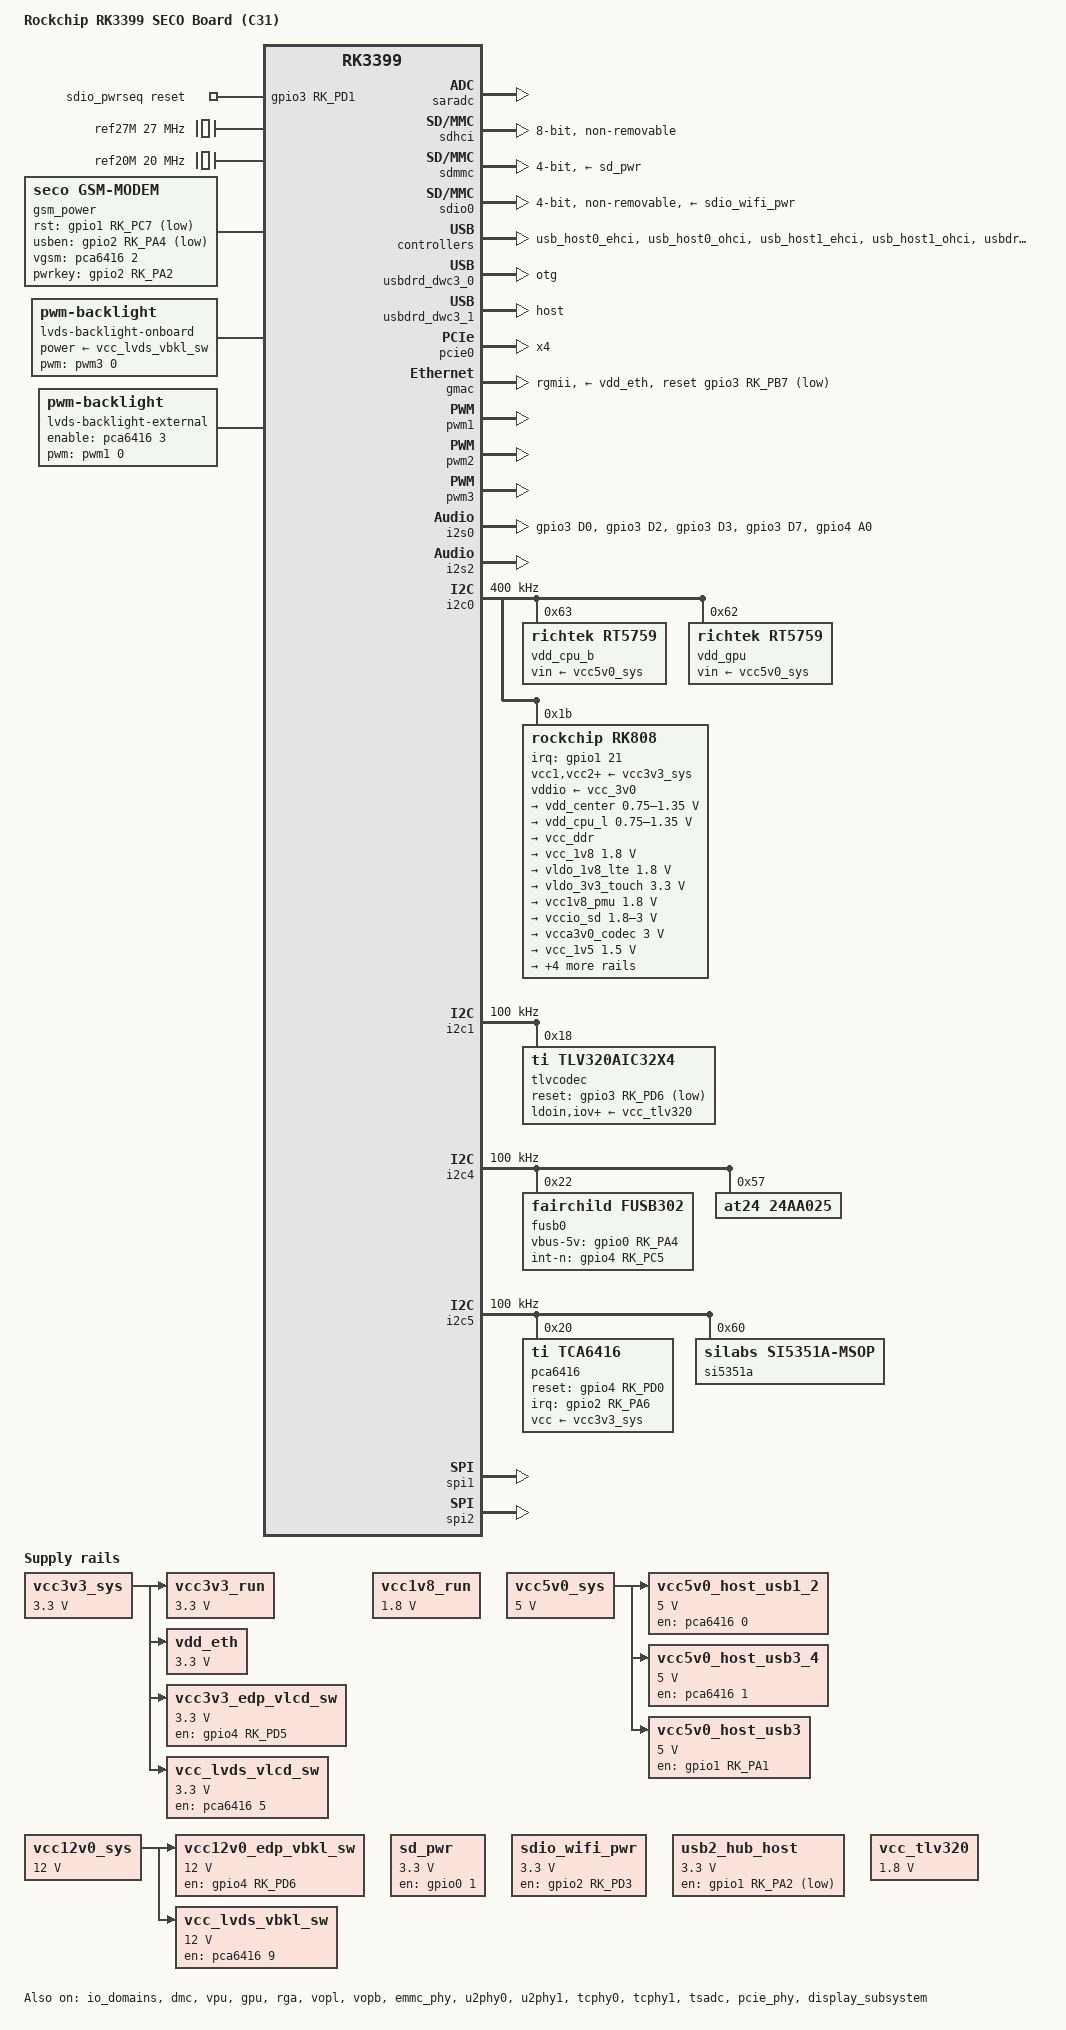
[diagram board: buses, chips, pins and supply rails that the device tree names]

/dts-v1/;

#include "dt-bindings/pwm/pwm.h"
#include <dt-bindings/input/input.h>
#include <dt-bindings/display/drm_mipi_dsi.h>

#include "seco-rk3399.dtsi"
#include "seco-rk3399-opp.dtsi"
#include "seco-rk3399-vop-clk-set.dtsi"
#include "dt-bindings/net/ti-dp83867.h"


/ {
	model      = "Rockchip RK3399 SECO Board (C31)";
	compatible = "rockchip,seco-rk3399-c31", "rockchip,rk3399";


    chosen {
		bootargs = "earlycon=uart8250,mmio32,0xff1a0000 swiotlb=1 console=ttyFIQ0,115200n8n rw rootwait coherent_pool=1m";
		stdout-path = "serial2:115200n8";
	};


	reserved-memory {
		#address-cells = <2>;
		#size-cells = <2>;
		ranges;

		drm_logo: drm-logo@00000000 {
			compatible = "rockchip,drm-logo";
			reg = <0x0 0x0 0x0 0x0>;
		};
	};


/*  __________________________________________________________________________
 * |                                                                          |
 * |                                   DEBUG                                  |
 * |__________________________________________________________________________|
 */
	fiq_debugger: fiq-debugger {
		compatible               = "rockchip,fiq-debugger";
		rockchip,serial-id       = <2>;
		rockchip,signal-irq      = <182>;
		rockchip,wake-irq        = <0>;
		rockchip,irq-mode-enable = <1>;  /* If enable uart uses irq instead of fiq */
		rockchip,baudrate        = <115200>;    /* Only 115200 and 1500000 */
		pinctrl-names            = "default";
		pinctrl-0                = <&uart2c_xfer>;
	};


/*  __________________________________________________________________________
 * |                                                                          |
 * |                                 REGULATORS                               |
 * |__________________________________________________________________________|
 */
	vcc3v3_sys: vcc3v3-sys {
		compatible              = "regulator-fixed";
		regulator-name          = "vcc3v3_sys";
		regulator-always-on;
		regulator-boot-on;
		regulator-min-microvolt = <3300000>;
		regulator-max-microvolt = <3300000>;
	};


    vcc3v3_run: vcc3v3-run {
		compatible              = "regulator-fixed";
		regulator-name          = "vcc3v3_run";
		regulator-min-microvolt = <3300000>;
		regulator-max-microvolt = <3300000>;
		enable-active-high;
		regulator-always-on;
		vin-supply              = <&vcc3v3_sys>;
	};


	vcc1v8_run: vcc1v8-run {
		compatible              = "regulator-fixed";
		regulator-name          = "vcc1v8_run";
		regulator-min-microvolt = <1800000>;
		regulator-max-microvolt = <1800000>;
		enable-active-high;
		regulator-always-on;
	};


	vdd_eth: vdd-eth {
		compatible              = "regulator-fixed";
		regulator-name          = "vdd_eth";
		regulator-min-microvolt = <3300000>;
		regulator-max-microvolt = <3300000>;
		enable-active-high;
		regulator-always-on;
		vin-supply              = <&vcc3v3_sys>;
	};


	vcc5v0_sys: vcc5v-sys {
		compatible              = "regulator-fixed";
		regulator-name          = "vcc5v0_sys";
		regulator-always-on;
		regulator-boot-on;
		regulator-min-microvolt = <5000000>;
		regulator-max-microvolt = <5000000>;
	};


	vcc12v0_sys: vcc12v-sys {
		compatible              = "regulator-fixed";
		regulator-name          = "vcc12v0_sys";
		regulator-always-on;
		regulator-boot-on;
		regulator-min-microvolt = <12000000>;
		regulator-max-microvolt = <12000000>;
	};


    sd_pwr: sd-pwr {
		compatible              = "regulator-fixed";
		gpio                    = <&gpio0 1 GPIO_ACTIVE_HIGH>;
		pinctrl-names           = "default";
		pinctrl-0               = <&sdmmc0_pwr_h>;
		regulator-name          = "vcc_sd";
		regulator-min-microvolt = <3300000>;
		regulator-max-microvolt = <3300000>;
		enable-active-high;
	};


	sdio_wifi_pwr: sdio-wifi-pwr {
		compatible              = "regulator-fixed";
		gpio                    = <&gpio2 RK_PD3 GPIO_ACTIVE_HIGH>;
		pinctrl-names           = "default";
		pinctrl-0               = <&sdio0_pwr_h>;
		regulator-name          = "sdio_wifi_pwr";
		regulator-min-microvolt = <3300000>;
		regulator-max-microvolt = <3300000>;
		enable-active-high;
        	startup-delay-us        = <1000>;
	};


    usb2_hub_host: usb2-hub-host {
		compatible              = "regulator-fixed";
		gpio                    = <&gpio1 RK_PA2 GPIO_ACTIVE_HIGH>;
		pinctrl-names           = "default";
		pinctrl-0               = <&host_hub_enable>;
		regulator-name          = "usb2_hub_host";
        regulator-min-microvolt = <3300000>;
		regulator-max-microvolt = <3300000>;
		enable-active-down;
		regulator-always-on;
	};


	vcc5v0_host_usb1_2: vcc5v0-host-usb1-2-regulator {
		compatible              = "regulator-fixed";
		gpio                    = <&pca6416 0 GPIO_ACTIVE_HIGH>;
		regulator-name          = "vcc5v0_host_usb1_2";
        regulator-min-microvolt = <5000000>;
		regulator-max-microvolt = <5000000>;
		regulator-always-on;
		enable-active-high;
		vin-supply              = <&vcc5v0_sys>;
	};


	vcc5v0_host_usb3_4: vcc5v0-host-usb3-4-regulator {
		compatible              = "regulator-fixed";
		gpio                    = <&pca6416 1 GPIO_ACTIVE_HIGH>;
		regulator-name          = "vcc5v0_host_usb3_4";
        regulator-min-microvolt = <5000000>;
		regulator-max-microvolt = <5000000>;
		regulator-always-on;
		enable-active-high;
		vin-supply              = <&vcc5v0_sys>;
	};


    vcc5v0_host_usb3: vcc5v0-host-usb3-regulator {
		compatible              = "regulator-fixed";
		gpio                    = <&gpio1 RK_PA1 GPIO_ACTIVE_HIGH>;
		regulator-name          = "vcc5v0_host_usb3";
        regulator-min-microvolt = <5000000>;
		regulator-max-microvolt = <5000000>;
		regulator-always-on;
		enable-active-high;
		vin-supply              = <&vcc5v0_sys>;
	};


	vcc_tlv320: vcc-tlv320-regulator {
		compatible              = "regulator-fixed";
		regulator-name          = "tlv320aic32x4_supply";
		regulator-min-microvolt = <1800000>;
		regulator-max-microvolt = <1800000>;
		regulator-always-on;
	};


	vcc3v3_edp_vlcd_sw: vcc3v3_edp_vlcd_sw {
		compatible              = "regulator-fixed";
		pinctrl-names           = "default";
		pinctrl-0               = <&edp_vlcd_sw>;
		gpio                    = <&gpio4 RK_PD5 GPIO_ACTIVE_HIGH>;
		regulator-name          = "vcc3v3_edp_vlcd_sw";
		regulator-min-microvolt = <3300000>;
		regulator-max-microvolt = <3300000>;
		enable-active-high;
		vin-supply              = <&vcc3v3_sys>;
	};


	vcc12v0_edp_vbkl_sw: vcc12v0-edp-vbkl-sw {
		compatible              = "regulator-fixed";
		pinctrl-names           = "default";
		pinctrl-0               = <&edp_vblk_sw>;
		gpio                    = <&gpio4 RK_PD6 GPIO_ACTIVE_HIGH>;
		regulator-name          = "vcc3v3_edp_vbkl_sw";
		regulator-min-microvolt = <12000000>;
		regulator-max-microvolt = <12000000>;
		enable-active-high;
		vin-supply              = <&vcc12v0_sys>;
	};


	vcc_lvds_vlcd_sw: vcc-lvds-vlcd-sw {
		compatible              = "regulator-fixed";
		gpio                    = <&pca6416 5 GPIO_ACTIVE_HIGH>;
		regulator-name          = "vcc_lvds_vlcd_sw";
		regulator-min-microvolt = <3300000>;
		regulator-max-microvolt = <3300000>;
		enable-active-high;
		vin-supply              = <&vcc3v3_sys>;
	};


	vcc_lvds_vbkl_sw: vcc-lvds-vbkl-sw {
		compatible              = "regulator-fixed";
		gpio                    = <&pca6416 9 GPIO_ACTIVE_HIGH>;
		regulator-name          = "vcc_lvds_vbkl_sw";
		regulator-min-microvolt = <12000000>;
		regulator-max-microvolt = <12000000>;
		enable-active-high;
		vin-supply              = <&vcc12v0_sys>;
	};


	sdio_pwrseq: sdio-pwrseq {
		compatible    = "mmc-pwrseq-simple";
		clocks        = <&rk808 1>;
		clock-names   = "ext_clock";
		pinctrl-names = "default";
		pinctrl-0     = <&wifi_enable_h>;
		reset-gpios   = <&gpio3 RK_PD1 GPIO_ACTIVE_HIGH>;
	};


/*  __________________________________________________________________________
 * |                                                                          |
 * |                                     CLOCKS                               |
 * |__________________________________________________________________________|
 */
	/* 27MHz reference crystal */
	ref27M: ref27M {
        compatible = "fixed-clock";
		#clock-cells = <0>;
		clock-frequency = <27000000>;
	};


	/* 20MHz reference crystal */
	ref20M: ref20M {
        compatible = "fixed-clock";
		#clock-cells = <0>;
		clock-frequency = <20000000>;
	};
};



/*  __________________________________________________________________________
 * |                                                                          |
 * |                                   POWER                                  |
 * |__________________________________________________________________________|
 */

&pmu_io_domains {
	status = "okay";
	pmu1830-supply = <&vcc_3v0>;
};


&io_domains {
	bt656-supply    = <&vcc_3v0>; /* bt656_gpio2ab_ms */
	audio-supply    = <&vcc1v8_run>; /* audio_gpio3d4a_ms */
	sdmmc-supply    = <&sd_pwr>; /* sdmmc_gpio4b_ms */
	gpio1830-supply = <&vcc_3v0>; /* gpio1833_gpio4cd_ms */

	status          = "okay";
};
/*  __________________________________________________________________________
 * |__________________________________________________________________________|
 */



/*  __________________________________________________________________________
 * |                                                                          |
 * |                                    CPU                                   |
 * |__________________________________________________________________________|
 */
&cpu_l0 {
	cpu-supply = <&vdd_cpu_l>;
};


&cpu_l1 {
	cpu-supply = <&vdd_cpu_l>;
};


&cpu_l2 {
	cpu-supply = <&vdd_cpu_l>;
};


&cpu_l3 {
	cpu-supply = <&vdd_cpu_l>;
};


&cpu_b0 {
	cpu-supply = <&vdd_cpu_b>;
};


&cpu_b1 {
	cpu-supply = <&vdd_cpu_b>;
};


&dmc {
	status             = "okay";
	center-supply      = <&vdd_center>;
	upthreshold        = <40>;
	downdifferential   = <20>;

	system-status-freq = <
		/*system status         freq(KHz)*/
		SYS_STATUS_NORMAL       800000
		SYS_STATUS_REBOOT       528000
		SYS_STATUS_SUSPEND      200000
		SYS_STATUS_VIDEO_1080P  200000
		SYS_STATUS_VIDEO_4K     600000
		SYS_STATUS_VIDEO_4K_10B 800000
		SYS_STATUS_PERFORMANCE  800000
		SYS_STATUS_BOOST        400000
		SYS_STATUS_DUALVIEW     600000
		SYS_STATUS_ISP          600000
	>;
	vop-bw-dmc-freq = <
	/* min_bw(MB/s) max_bw(MB/s) freq(KHz) */
		0       762      200000
		763     1893     400000
		1894    3012     528000
		3013    99999    800000
	>;

	auto-min-freq = <200000>;
};
/*  __________________________________________________________________________
 * |__________________________________________________________________________|
 */


 /* __________________________________________________________________________
 * |                                                                          |
 * |                              HW ACCELERATION                             |
 * |__________________________________________________________________________|
 */

&vpu {
	status = "okay";
};

&gpu {
	status = "okay";
	mali-supply = <&vdd_gpu>;
};


&gpu_power_model {
	// for DDK r14.
	voltage       = <900>;
	frequency     = <500>;
	static-power  = <300>;
	dynamic-power = <396>;
};


&rga {
	compatible    = "rockchip,rga2";
	dev_mode      = <1>;
	reg           = <0x0 0xff680000 0x0 0x1000>;
	interrupts    = <GIC_SPI 55 IRQ_TYPE_LEVEL_HIGH 0>;
	clocks        = <&cru ACLK_RGA>, <&cru HCLK_RGA>, <&cru SCLK_RGA_CORE>;
	clock-names   = "aclk_rga", "hclk_rga", "clk_rga";
	power-domains = <&power RK3399_PD_RGA>;
	status = "okay";
};
/*  __________________________________________________________________________
 * |__________________________________________________________________________|
 */


 /*  __________________________________________________________________________
 * |                                                                          |
 * |                              A/D CONVERTER                               |
 * |__________________________________________________________________________|
 */
&saradc {
	status      = "okay";
};
/*  __________________________________________________________________________
 * |__________________________________________________________________________|
 */


/*  __________________________________________________________________________
 * |                                                                          |
 * |                        VISUAL OUTPUT PROCESSOR                           |
 * |__________________________________________________________________________|
 */
&vopl {
	status = "okay";
	assigned-clocks = <&cru DCLK_VOP1_DIV>;
	assigned-clock-parents = <&cru PLL_CPLL>;
};


&vopb_mmu {
	status = "okay";
};


&vopb {
	status = "okay";
	assigned-clocks = <&cru DCLK_VOP0_DIV>;
	assigned-clock-parents = <&cru PLL_VPLL>;
};


&vopb_mmu {
	status = "okay";
};
/*  __________________________________________________________________________
 * |__________________________________________________________________________|
 */


/*  __________________________________________________________________________
 * |                                                                          |
 * |                              eMMC/uSD/SDIO                               |
 * |__________________________________________________________________________|
 */
 /*  eMMC  */
&emmc_phy {
	status = "okay";
};

&sdhci {
	bus-width                   = <8>;
	mmc-hs400-1_8v;
	supports-emmc;
	non-removable;
	keep-power-in-suspend;
	mmc-hs400-enhanced-strobe;
	status                      = "okay";
};


/*  uSD  */
&sdmmc {
	pinctrl-names      = "default";
	pinctrl-0          = <&sdmmc_clk &sdmmc_cmd &sdmmc_cd &sdmmc_bus4>;
	clock-frequency    = <150000000>;
	clock-freq-min-max = <100000 150000000>;
	supports-sd;
	bus-width          = <4>;
	vmmc-supply        = <&sd_pwr>;
	num-slots          = <1>;
	cap-mmc-highspeed;
	cap-sd-highspeed;
	disable-wp;
	status             = "okay";
};


/*  WIFI  */
&sdio0 {
	pinctrl-names            = "default";
	pinctrl-0                = <&sdio0_bus4 &sdio0_cmd &sdio0_clk>;
	bus-width                = <4>;
	vmmc-supply              = <&sdio_wifi_pwr>;
	mmc-pwrseq               = <&sdio_pwrseq>;
	num-slots                = <1>;
	supports-sdio;
	disable-wp;
	cap-sd-highspeed;
	cap-sdio-irq;
	keep-power-in-suspend;
	non-removable;
	sd-uhs-sdr104;
	status                   = "okay";

	sd8xxx-wlan {
			status            = "okay";
			drv_mode          = <0x1>;
			cfg80211_wext     = <0xf>;
			sta_name          = "wlan";
			wfd_name          = "p2p";
			max_vir_bss       = <1>;
			cal_data_cfg      = "mrvl/cal_data.conf";
			fw_name           = "mrvl/sd8997_combo_v4.bin";
			reg_alpha2        = "US";
			p2p_enh           = <1>;
			auto_ds           = <0>;
			inact_tmo         = <3000>;
			gtk_rekey_offload = <1>;
			cfg80211_drcs     = <0>;
		};
};
/*  __________________________________________________________________________
 * |__________________________________________________________________________|
 */


 /*  __________________________________________________________________________
 * |                                                                          |
 * |                                    USB 2                                 |
 * |__________________________________________________________________________|
 */
 &u2phy0 {
	status  = "okay";
    extcon  = <&fusb0>;
	dr_mode = "host";
	
	u2phy0_host: host-port {
		phy-supply = <&usb2_hub_host &vcc5v0_host_usb1_2 &vcc5v0_host_usb3_4>;
		status     = "okay";
	};
};


&u2phy1 {
	status = "okay";

	u2phy1_otg: otg-port {
		status = "okay";
	};

	u2phy1_host: host-port {
		status = "okay";
	};
};


&usb_host0_ehci {
	status = "okay";
};


&usb_host0_ohci {
	status = "okay";
};


&usb_host1_ehci {
	status = "okay";
};


&usb_host1_ohci {
	status = "okay";
};
 /*  __________________________________________________________________________
 * |__________________________________________________________________________|
 */


/*  __________________________________________________________________________
 * |                                                                          |
 * |                                    USB 3                                 |
 * |__________________________________________________________________________|
 */
&usbdrd3_0 {
	status = "okay";
	extcon = <&fusb0>;
};


&usbdrd_dwc3_0 {
	dr_mode = "otg";
	status = "okay";
};


&usbdrd3_1 {
	status = "okay";
};

&usbdrd_dwc3_1 {
	status = "okay";
	dr_mode = "host";
};


&tcphy0 {
	extcon = <&fusb0>;
	status = "okay";
};


&tcphy1 {
	status = "okay";
};

&tsadc {
	/* tshut mode 0:CRU 1:GPIO */
	rockchip,hw-tshut-mode = <1>;
	/* tshut polarity 0:LOW 1:HIGH */
	rockchip,hw-tshut-polarity = <1>;
	rockchip,hw-tshut-temp = <110000>;
	status = "okay";
};
/*  __________________________________________________________________________
 * |__________________________________________________________________________|
 */


/*  __________________________________________________________________________
 * |                                                                          |
 * |                                  PCIe                                    |
 * |__________________________________________________________________________|
 */
&pcie_phy {
	status = "okay";
};


&pcie0 {
	ep-gpios          = <&pca6416 13 GPIO_ACTIVE_HIGH>;
    ep_start_low;
	num-lanes         = <4>;
	pinctrl-names     = "default";
	pinctrl-0         = <&pcie_clkreqn>;
	bus-scan-delay-ms = <1000>;
	status            = "okay";
};
/*  __________________________________________________________________________
 * |__________________________________________________________________________|
 */


/*  __________________________________________________________________________
 * |                                                                          |
 * |                                ETHERNET                                  |
 * |__________________________________________________________________________|
 */
&gmac {
	phy-supply             = <&vdd_eth>;
	phy-mode               = "rgmii";
	clock_in_out           = "output";
	snps,reset-gpio        = <&gpio3 RK_PB7 GPIO_ACTIVE_LOW>;
	snps,reset-active-low;
	snps,reset-delays-us   = <0 10000 50000>;
	assigned-clocks        = <&cru SCLK_RMII_SRC>;
	assigned-clock-parents = <&cru SCLK_MAC>;
	assigned-clock-rates   = <125000000>;
	pinctrl-names          = "default";
	pinctrl-0              = <&rgmii_pins>;
	tx_delay               = <0x28>;
	rx_delay               = <0x11>;
	status                 = "okay";
};
/*  __________________________________________________________________________
 * |__________________________________________________________________________|
 */


/*  __________________________________________________________________________
 * |                                                                          |
 * |                                   GSM                                    |
 * |__________________________________________________________________________|
 */
/ {
	gsm_power: gsm_power {
		compatible    = "seco,gsm-modem";
		pinctrl-names = "default";
		pinctrl-0     = <&gsm_modem_pwr>;
		rst-gpios     = <&gpio1 RK_PC7 GPIO_ACTIVE_LOW>;
		rst-active-low; 
		usben-gpios   = <&gpio2 RK_PA4 GPIO_ACTIVE_LOW>;
		usben-active-low; 
		vgsm-gpios    = <&pca6416 2 GPIO_ACTIVE_HIGH>;
		vgsm-active-low;
		pwrkey-gpios  = <&gpio2 RK_PA2 GPIO_ACTIVE_HIGH>;
		pwr-active-low;
		status        = "okay";
	};
};
/*  __________________________________________________________________________
 * |__________________________________________________________________________|
 */


/*  __________________________________________________________________________
 * |                                                                          |
 * |                                   PWM                                    |
 * |__________________________________________________________________________|
 */
 &pwm1 {
	status = "okay";
};


&pwm2 {
	status = "okay";
};


&pwm3 {
	status = "okay";
};
 /*  __________________________________________________________________________
 * |__________________________________________________________________________|
 */


/*  __________________________________________________________________________
 * |                                                                          |
 * |                                 VIDEO                                    |
 * |__________________________________________________________________________|
 */
&display_subsystem {
	status = "okay";
	/delete-property/ devfreq;

	ports = <&vopb_out>, <&vopl_out>;
	logo-memory-region = <&drm_logo>;

	 display_route: route {
	// 	route_hdmi: route-hdmi {
	// 		status = "disabled";
	// 		logo,uboot = "logo.bmp";
	// 		logo,kernel = "logo_kernel.bmp";
	// 		logo,mode = "center";
	// 		charge_logo,mode = "center";
	// 		connect = <&vopb_out_hdmi>;
	// 	};

	// 	route_dsi: route-dsi {
	// 		status = "disabled";
	// 		logo,uboot = "logo.bmp";
	// 		logo,kernel = "logo_kernel.bmp";
	// 		logo,mode = "center";
	// 		charge_logo,mode = "center";
	 		//connect = <&vopl_out_dsi>;
	// 	};

	// 	route_edp: route-edp {
	// 		status = "okay";
	// 		logo,uboot = "logo.bmp";
	// 		logo,kernel = "logo_kernel.bmp";
	// 		logo,mode = "center";
	// 		charge_logo,mode = "center";
	// 		connect = <&vopl_out_edp>;
	// 	};
	 };



	// route_dp: route-dp {
	// 	status           = "okay";
	// 	logo,uboot       = "logo.bmp";
	// 	logo,kernel      = "logo_kernel.bmp";
	// 	logo,mode        = "center";
	// 	charge_logo,mode = "center";
	// 	connect          = <&vopb_out_dp>;
	// };
};


/* --------------------------------- DP over typeC --------------------------------- */
&cdn_dp {
	status = "disabled";
	phys   = <&tcphy0_dp>;
	extcon = <&fusb0>;
};

&dp_in_vopb {
	status = "disabled";
};

&dp_in_vopl {
	status = "disabled";
};


/* --------------------------------- HDMI --------------------------------- */
&hdmi {
	pinctrl-names = "default";
	pinctrl-0 = <&hdmi_i2c_xfer>, <&hdmi_cec>;
	#address-cells = <1>;
	#size-cells = <0>;
	#sound-dai-cells = <0>;
	status = "disabled";
};


/* --------------------------------- EDP --------------------------------- */
/ {
	backlight: lcd-backlight {
		compatible               = "pwm-backlight";
		pwms                     = <&pwm2 0 250000 0>;
		enable-gpios             = <&pca6416 10 GPIO_ACTIVE_HIGH>;
		power-supply             = <&vcc12v0_edp_vbkl_sw>;
		default-brightness-level = <255>;
		status                   = "disable";

		brightness-levels = <
			  0   1   2   3   4   5   6   7
			  8   9  10  11  12  13  14  15
			 16  17  18  19  20  21  22  23
			 24  25  26  27  28  29  30  31
			 32  33  34  35  36  37  38  39
			 40  41  42  43  44  45  46  47
			 48  49  50  51  52  53  54  55
			 56  57  58  59  60  61  62  63
			 64  65  66  67  68  69  70  71
			 72  73  74  75  76  77  78  79
			 80  81  82  83  84  85  86  87
			 88  89  90  91  92  93  94  95
			 96  97  98  99 100 101 102 103
			104 105 106 107 108 109 110 111
			112 113 114 115 116 117 118 119
			120 121 122 123 124 125 126 127
			128 129 130 131 132 133 134 135
			136 137 138 139 140 141 142 143
			144 145 146 147 148 149 150 151
			152 153 154 155 156 157 158 159
			160 161 162 163 164 165 166 167
			168 169 170 171 172 173 174 175
			176 177 178 179 180 181 182 183
			184 185 186 187 188 189 190 191
			192 193 194 195 196 197 198 199
			200 201 202 203 204 205 206 207
			208 209 210 211 212 213 214 215
			216 217 218 219 220 221 222 223
			224 225 226 227 228 229 230 231
			232 233 234 235 236 237 238 239
			240 241 242 243 244 245 246 247
			248 249 250 251 252 253 254 255>;
	};


	edp_panel: edp-panel {
		compatible       = "simple-panel";
		backlight        = <&backlight>;
		power-supply     = <&vcc3v3_edp_vlcd_sw>;
		status           = "disabled";

		display-timings {
			native-mode = <&timing0>;

			timing0: timing0 {
				clock-frequency  = <152840000>;
				hactive          = <1920>;
				vactive          = <1080>;
				hfront-porch     = <150>;
				hback-porch      = <150>;
				hsync-len        = <30>;
				vfront-porch     = <25>;
				vback-porch      = <25>;
				vsync-len        = <2>;
				hsync-active     = <0>;
				vsync-active     = <0>;
				de-active        = <0>;
				pixelclk-active  = <0>;
			};
		};
		
		ports {
			panel_in_edp: endpoint {
				remote-endpoint = <&edp_out_panel>;
			};
		};
	};
};


&edp {
	status     = "disabled";
	force-hpd;

	ports {
		edp_out: port@1 {
			reg            = <1>;
			#address-cells = <1>;
			#size-cells    = <0>;

			edp_out_panel: endpoint@0 {
				reg             = <0>;
				remote-endpoint = <&panel_in_edp>;
			};
		};
	};
};


/* --------------------------------- DSI -> LVDS --------------------------------- */
/ {
	lvds-backlight-onboard {
		compatible               = "pwm-backlight";
		pwms                     = <&pwm3 0 250000 0>;
		power-supply             = <&vcc_lvds_vbkl_sw>;
		default-brightness-level = <255>;
		status                   = "okay";

		brightness-levels = <
			  0   1   2   3   4   5   6   7
			  8   9  10  11  12  13  14  15
			 16  17  18  19  20  21  22  23
			 24  25  26  27  28  29  30  31
			 32  33  34  35  36  37  38  39
			 40  41  42  43  44  45  46  47
			 48  49  50  51  52  53  54  55
			 56  57  58  59  60  61  62  63
			 64  65  66  67  68  69  70  71
			 72  73  74  75  76  77  78  79
			 80  81  82  83  84  85  86  87
			 88  89  90  91  92  93  94  95
			 96  97  98  99 100 101 102 103
			104 105 106 107 108 109 110 111
			112 113 114 115 116 117 118 119
			120 121 122 123 124 125 126 127
			128 129 130 131 132 133 134 135
			136 137 138 139 140 141 142 143
			144 145 146 147 148 149 150 151
			152 153 154 155 156 157 158 159
			160 161 162 163 164 165 166 167
			168 169 170 171 172 173 174 175
			176 177 178 179 180 181 182 183
			184 185 186 187 188 189 190 191
			192 193 194 195 196 197 198 199
			200 201 202 203 204 205 206 207
			208 209 210 211 212 213 214 215
			216 217 218 219 220 221 222 223
			224 225 226 227 228 229 230 231
			232 233 234 235 236 237 238 239
			240 241 242 243 244 245 246 247
			248 249 250 251 252 253 254 255>;
	};

	lvds-backlight-external {
		compatible               = "pwm-backlight";
		pwms                     = <&pwm1 0 250000 0>;
		enable-gpios             = <&pca6416 3 GPIO_ACTIVE_HIGH>;
		default-brightness-level = <255>;
		status                   = "okay";

		brightness-levels = <
			  0   1   2   3   4   5   6   7
			  8   9  10  11  12  13  14  15
			 16  17  18  19  20  21  22  23
			 24  25  26  27  28  29  30  31
			 32  33  34  35  36  37  38  39
			 40  41  42  43  44  45  46  47
			 48  49  50  51  52  53  54  55
			 56  57  58  59  60  61  62  63
			 64  65  66  67  68  69  70  71
			 72  73  74  75  76  77  78  79
			 80  81  82  83  84  85  86  87
			 88  89  90  91  92  93  94  95
			 96  97  98  99 100 101 102 103
			104 105 106 107 108 109 110 111
			112 113 114 115 116 117 118 119
			120 121 122 123 124 125 126 127
			128 129 130 131 132 133 134 135
			136 137 138 139 140 141 142 143
			144 145 146 147 148 149 150 151
			152 153 154 155 156 157 158 159
			160 161 162 163 164 165 166 167
			168 169 170 171 172 173 174 175
			176 177 178 179 180 181 182 183
			184 185 186 187 188 189 190 191
			192 193 194 195 196 197 198 199
			200 201 202 203 204 205 206 207
			208 209 210 211 212 213 214 215
			216 217 218 219 220 221 222 223
			224 225 226 227 228 229 230 231
			232 233 234 235 236 237 238 239
			240 241 242 243 244 245 246 247
			248 249 250 251 252 253 254 255>;
	};


        panel_lvds: lvds_panel {
		compatible         = "simple-panel";
		#address-cells     = <1>;
		#size-cells        = <0>;
		power-supply       = <&vcc_lvds_vlcd_sw>;
		enable-gpios       = <&pca6416 11 GPIO_ACTIVE_HIGH>;
		status             = "disabled";

		ports {
			#address-cells = <1>;
		 	#size-cells    = <0>;

			panel_in: endpoint@0 {
				remote-endpoint = <&bridge_to_panel>;
			};
		};
	};
};


&dsi {
	status = "disabled";
};
/*  __________________________________________________________________________
 * |__________________________________________________________________________|
 */


/*  __________________________________________________________________________
 * |                                                                          |
 * |                                 AUDIO                                    |
 * |__________________________________________________________________________|
 */
&i2s0 {
	rockchip,i2s-broken-burst-len;
	pinctrl-names                  = "default";
	pinctrl-0                      = <&i2s0_2ch_bus &i2s0_2ch_mclk>;
	rockchip,playback-channels     = <2>;
	rockchip,capture-channels      = <2>;
	#sound-dai-cells               = <0>;
	//rockchip,clk-trcm              = <1>; 	// only tx_lrck/bclk is used

	status                         = "okay";
};


&i2s2 {
	#sound-dai-cells = <0>;
	status           = "okay";
};


/ {
	hdmi_sound: hdmi-sound {
		status = "disabled";
	};

	dw_hdmi_audio: dw-hdmi-audio {
		status = "disabled";
		compatible = "rockchip,dw-hdmi-audio";
		#sound-dai-cells = <0>;
	};


	hdmi_sound: hdmi-sound {
		status = "disabled";
		compatible = "simple-audio-card";
		simple-audio-card,format = "i2s";
		simple-audio-card,mclk-fs = <256>;
		simple-audio-card,name = "rockchip,hdmi";

		simple-audio-card,cpu {
			sound-dai = <&i2s2>;
		};
		simple-audio-card,codec {
			sound-dai = <&hdmi>;
		};
	};


	headphones-sound {
		status                        = "okay";
		compatible                    = "simple-audio-card";
		simple-audio-card,format      = "i2s";
		simple-audio-card,name        = "rk-tlvcodec-sound";
		simple-audio-card,mclk-fs     = <256>;
//		simple-audio-card,hp-det-gpio = <&gpio2 RK_PA7 GPIO_ACTIVE_LOW>;

		simple-audio-card,cpu {
			bitclock-master;
			frame-master;
			sound-dai         = <&i2s0>;
		};
		simple-audio-card,codec {
			sound-dai         = <&tlvcodec>;
		};
	};
};
/*  __________________________________________________________________________
 * |__________________________________________________________________________|
 */


/*  __________________________________________________________________________
 * |                                                                          |
 * |                                   I2C                                    |
 * |__________________________________________________________________________|
 */
&i2c0 {
	i2c-scl-rising-time-ns  = <168>;
	i2c-scl-falling-time-ns = <4>;
	clock-frequency         = <400000>;
	status                  = "okay";


    vdd_cpu_b: rt5759@63 {
		compatible              = "richtek,rt5759";
		reg                     = <0x63>;
		vin-supply              = <&vcc5v0_sys>;
		regulator-name          = "vdd_cpu_b";
		regulator-min-microvolt = <600000>;
		regulator-max-microvolt = <1500000>;
		regulator-ramp-delay    = <1000>;
		rate-offset-fb          = <1234>;  // ( 1 + Rup/Rdown) * 1000 ; voltage growing due to the fb net 
		regulator-always-on;
		regulator-boot-on;
		regulator-initial-state = <3>;
		regulator-state-mem {
			regulator-off-in-suspend;
		};
	};


	vdd_gpu: rt5759@62 {
		compatible              = "richtek,rt5759";
		reg                     = <0x62>;
		vin-supply              = <&vcc5v0_sys>;
		regulator-name          = "vdd_gpu";
		regulator-min-microvolt = <600000>;
		regulator-max-microvolt = <1500000>;
		regulator-ramp-delay    = <1000>;
		rate-offset-fb          = <1200>;  // ( 1 + Rup/Rdown) * 1000 ; voltage growing due to the fb net 
		regulator-always-on;
		regulator-boot-on;
		regulator-initial-state = <3>;
		regulator-state-mem {
			regulator-off-in-suspend;
		};
	};


	rk808: pmic@1b {
		compatible       = "rockchip,rk808";
		reg              = <0x1b>;
		pinctrl-names    = "default";
		pinctrl-0        = <&pmic_int_l>;
		interrupt-parent = <&gpio1>;
		interrupts       = <21 IRQ_TYPE_LEVEL_LOW>;
		#clock-cells     = <1>;
		rockchip,system-power-controller;
		wakeup-source;
		
		clock-output-names = "rk808-clkout1", "rk808-clkout2";

		vcc1-supply = <&vcc3v3_sys>;
		vcc2-supply = <&vcc3v3_sys>;
		vcc3-supply = <&vcc3v3_sys>;
		vcc4-supply = <&vcc3v3_sys>;
		vcc6-supply = <&vcc3v3_sys>;
		vcc7-supply = <&vcc3v3_sys>;
		vcc8-supply = <&vcc3v3_sys>;
		vcc9-supply = <&vcc3v3_sys>;
		vcc10-supply = <&vcc3v3_sys>;
		vcc11-supply = <&vcc3v3_sys>;
		vcc12-supply = <&vcc3v3_sys>;
		vddio-supply = <&vcc_3v0>;

		regulators {
			vdd_center: DCDC_REG1 {
				regulator-always-on;
				regulator-boot-on;
				regulator-min-microvolt = <750000>;
				regulator-max-microvolt = <1350000>;
				regulator-ramp-delay    = <6001>;
				regulator-name          = "vdd_center";
				regulator-state-mem {
					regulator-off-in-suspend;
				};
			};

			vdd_cpu_l: DCDC_REG2 {
				regulator-always-on;
				regulator-boot-on;
				regulator-min-microvolt = <750000>;
				regulator-max-microvolt = <1350000>;
				regulator-ramp-delay    = <6001>;
				regulator-name          = "vdd_cpu_l";
				regulator-state-mem {
					regulator-off-in-suspend;
				};
			};

			vcc_ddr: DCDC_REG3 {
				regulator-always-on;
				regulator-boot-on;
				regulator-name       = "vcc_ddr";
				regulator-state-mem {
					regulator-on-in-suspend;
				};
			};

			vcc_1v8: DCDC_REG4 {
				regulator-always-on;
				regulator-boot-on;
				regulator-min-microvolt    = <1800000>;
				regulator-max-microvolt    = <1800000>;
				regulator-name = "vcc_1v8";
				regulator-state-mem {
					regulator-on-in-suspend;
					regulator-suspend-microvolt = <1800000>;
				};
			};

			vldo_1v8_lte: LDO_REG1 {
				regulator-always-on;
				regulator-boot-on;
				regulator-min-microvolt = <1800000>;
				regulator-max-microvolt = <1800000>;
				regulator-name          = "vcc1v8_dvp";
				regulator-state-mem {
					regulator-off-in-suspend;
				};
			};

			vldo_3v3_touch: LDO_REG2 {
				regulator-always-on;
				regulator-boot-on;
				regulator-min-microvolt = <3300000>;
				regulator-max-microvolt = <3300000>;
				regulator-name          = "vldo_3v3_touch";
				regulator-state-mem {
					regulator-off-in-suspend;
				};
			};

			vcc1v8_pmu: LDO_REG3 {
				regulator-always-on;
				regulator-boot-on;
				regulator-min-microvolt = <1800000>;
				regulator-max-microvolt = <1800000>;
				regulator-name          = "vcc1v8_pmu";
				regulator-state-mem {
					regulator-on-in-suspend;
					regulator-suspend-microvolt = <1800000>;
				};
			};

			vccio_sd: LDO_REG4 {
				regulator-always-on;
				regulator-boot-on;
				regulator-min-microvolt = <1800000>;
				regulator-max-microvolt = <3000000>;
				regulator-name          = "vccio_sd";
				regulator-state-mem {
					regulator-on-in-suspend;
					regulator-suspend-microvolt = <3000000>;
				};
			};

			vcca3v0_codec: LDO_REG5 {
				regulator-always-on;
				regulator-boot-on;
				regulator-min-microvolt = <3000000>;
				regulator-max-microvolt = <3000000>;
				regulator-name          = "vcca3v0_codec";
				regulator-state-mem {
					regulator-off-in-suspend;
				};
			};

			vcc_1v5: LDO_REG6 {
				regulator-always-on;
				regulator-boot-on;
				regulator-min-microvolt = <1500000>;
				regulator-max-microvolt = <1500000>;
				regulator-name          = "vcc_1v5";
				regulator-state-mem {
					regulator-on-in-suspend;
					regulator-suspend-microvolt = <1500000>;
				};
			};

			vcca1v8_codec: LDO_REG7 {
				regulator-always-on;
				regulator-boot-on;
				regulator-min-microvolt = <1800000>;
				regulator-max-microvolt = <1800000>;
				regulator-name          = "vcca1v8_codec";
				regulator-state-mem {
					regulator-off-in-suspend;
				};
			};

			vcc_3v0: LDO_REG8 {
				regulator-always-on;
				regulator-boot-on;
				regulator-min-microvolt = <3000000>;
				regulator-max-microvolt = <3000000>;
				regulator-name          = "vcc_3v0";
				regulator-state-mem {
					regulator-on-in-suspend;
					regulator-suspend-microvolt = <3000000>;
				};
			};

			vcc3v3_s3: SWITCH_REG1 {
				regulator-always-on;
				regulator-boot-on;
				regulator-name = "vcc3v3_s3";
				regulator-state-mem {
					regulator-off-in-suspend;
				};
			};

			vcc3v3_s0: SWITCH_REG2 {
				regulator-always-on;
				regulator-boot-on;
				regulator-name = "vcc3v3_s0";
				regulator-state-mem {
					regulator-off-in-suspend;
				};
			};
		};
	};
};


&i2c1 {
	clock-frequency   = <100000>;
	status            = "okay";

	tlvcodec: tlv320aic32x4@18 { 
		compatible       = "ti,tlv320aic32x4"; 
		reg              = <0x18>;
		#sound-dai-cells = <0>;
		pinctrl-names    = "default";
		pinctrl-0        = <&codec_audio>;
		clocks           = <&cru SCLK_I2S_8CH_OUT>;
		clock-names      = "mclk";
		ldoin-supply     = <&vcc_tlv320>;
		iov-supply       = <&vcc_tlv320>;
		dov-supply       = <&vcc_tlv320>;
		aov-supply       = <&vcc_tlv320>;
		reset-gpios      = <&gpio3 RK_PD6 GPIO_ACTIVE_LOW>;
//		hp-det-gpio      = <&gpio2 RK_PA7 GPIO_ACTIVE_LOW>; 
		status		 = "okay";
	};


	dsi_bridge: sn65dsi84@2d {
		compatible      = "ti,sn65dsi84";
		reg             = <0x2d>;
		#address-cells  = <1>;
		#size-cells     = <0>;
		pinctrl-names   = "default";
		pinctrl-0       = <&dsi_bridge_on>;

		clocks          = <&si5351a 0>;
		clock-names     = "ext_osc";

		pd-gpios        = <&gpio3 RK_PD4 GPIO_ACTIVE_HIGH>;

		status          = "disabled";
		//bkl-gpios = <&pca6416_20 5 GPIO_ACTIVE_HIGH>;
		//lcd-gpios = <&pca6416_20 9 GPIO_ACTIVE_HIGH>;

		ports {
			#address-cells = <1>;
			#size-cells    = <0>;

			port@0 {
				reg = <0>;
				bridge_to_mipi: endpoint@0 {
					remote-endpoint = <&mipi_dsi_bridge_out>;
				};
			};

			port@1 {
				reg = <1>;
				bridge_to_panel: endpoint@0 {
					remote-endpoint = <&panel_in>;
				};
			};

		};
    };
};


&i2c4 {
	clock-frequency   = <100000>;
	status            = "okay";

	fusb0: fusb30x@22 {
		compatible    = "fairchild,fusb302";
		reg           = <0x22>;
		pinctrl-names = "default";
		pinctrl-0     = <&fusb0_int>;
		vbus-5v-gpios = <&gpio0 RK_PA4 GPIO_ACTIVE_HIGH>;
		int-n-gpios   = <&gpio4 RK_PC5 GPIO_ACTIVE_HIGH>;
		status        = "okay";
		fusb302,role  = "ROLE_MODE_DFP";  // (ROLE_MODE_DRP/ROLE_MODE_DFP/ROLE_MODE_UFP)
	};


	at24@57 {
		compatible = "at24,24aa025";
		pagesize   = <256>;
		reg        = <0x57>;
		status     = "okay";
	};
};


&i2c5 {
	clock-frequency      = <100000>;
	status               = "okay";

	pca6416: gpio@20 {
		compatible       = "ti,tca6416";
		reg              = <0x20>;
		pinctrl-names    = "default";
		pinctrl-0        = <&pca6416_gpios>;
		reset-gpio       = <&gpio4 RK_PD0 GPIO_ACTIVE_HIGH>;
		gpio-base	 = <450>;
		interrupt-parent = <&gpio2>;
		interrupts       = <RK_PA6 IRQ_TYPE_NONE>;
		#interrupt-cells = <2>;
		#gpio-cells      = <2>;
		gpio-controller;
		interrupt-controller;
		vcc-supply       = <&vcc3v3_sys>;
		status		 = "okay";
	};


	si5351a: clock-generator@60 {
		compatible        = "silabs,si5351a-msop";
		reg               = <0x60>;
		#address-cells    = <1>;
		#size-cells       = <0>;
		#clock-cells      = <1>;
		/* connect xtal input to 27MHz reference */
		clocks            = <&ref27M>;
		clock-names       = "xtal";
		/* connect xtal input as source of pll0 and pll1 */
		silabs,pll-source = <0 0>, <1 0>;

		clk_gen1: clkout0 {
			reg                      = <0>;
			silabs,drive-strength    = <8>;
			silabs,multisynth-source = <0>;
			silabs,clock-source      = <0>;
			silabs,pll-master;
		};

		clkout1 {
			reg                      = <1>;
			silabs,drive-strength    = <4>;
			silabs,multisynth-source = <1>;
			silabs,clock-source      = <0>;
			pll-master;
		};

		clkout2 {
			reg                      = <2>;
			silabs,clock-source      = <2>;
		};
	};
};
/*  __________________________________________________________________________
 * |__________________________________________________________________________|
 */


&spi1 {
	status = "okay";

	can1: can1@0 {
        	compatible          = "microchip,mcp2517fd";
		reg                 = <0>;
		clocks              = <&ref20M>;
		pinctrl-names       = "default";
		pinctrl-0           = <&can1_int>;
		interrupt-parent    = <&gpio1>;
		interrupts          = <RK_PA3 0x2>;
		vdd-supply          = <&vcc_3v0>;
		xceiver-supply      = <&vcc5v0_sys>;
		//spi-min-frequency   = <1000000>;
		spi-max-frequency   = <1000000>;
		status              = "disabled";
    };


	flash: m25p80@0 {
		#address-cells    = <1>;
		#size-cells       = <0>;

		compatible        = "sst,sst25vf080b", "jedec,spi-nor";
		reg               = <0>;
		spi-max-frequency = <20000000>;

		status            = "disabled";

		partitions {
			compatible = "fixed-partitions";
			#address-cells = <1>;
			#size-cells = <1>;

			partition@0 {
				label = "data";
				reg   = <0x00000000 0x00100000>;
			};
		};
	};
};


&spi2 {
	status = "okay";

	rtc: pcf2123@00 {
		compatible          = "nxp,rtc-pcf2123";
		reg                 = <0>;
		spi-max-frequency   = <1000000>;
		//spi-cs-high;
		status              = "disabled";
	};


	can2: can2@0 {
		compatible          = "microchip,mcp2517fd";
		reg                 = <0>;
		clocks              = <&ref20M>;
		pinctrl-names       = "default";
		pinctrl-0           = <&can2_int>;
		interrupt-parent    = <&gpio1>;
		interrupts          = <RK_PA4 0x2>;
		vdd-supply          = <&vcc_3v0>;
		xceiver-supply      = <&vcc5v0_sys>;
		spi-max-frequency   = <10000000>;
		status              = "disabled";
    };
};



/*  __________________________________________________________________________
 * |                                                                          |
 * |                              PIN MUX/CONTROL                             |
 * |__________________________________________________________________________|
 */
 &pinctrl {
     
    pmic {
		pmic_int_l: pmic-int-l {
			rockchip,pins =
				<1 RK_PC5 RK_FUNC_GPIO &pcfg_pull_up>;
		};
	};


	sdmmc0_pwr_h {
		sdmmc0_pwr_h: sdmmc0_pwr_h {
			rockchip,pins =
				<0 1 RK_FUNC_GPIO &pcfg_pull_up>;
		};
	};


	sdio0_pwr_h {
		sdio0_pwr_h: sdio0_pwr_h {
			rockchip,pins =
				<2 RK_PD3 RK_FUNC_GPIO &pcfg_pull_up>;
		};
	};


    gpio_expander {
		pca6416_gpios: pca6416_gpios {
			rockchip,pins =
				<2 RK_PA6 RK_FUNC_GPIO &pcfg_pull_up>,		// IRQ
				<4 RK_PD0 RK_FUNC_GPIO &pcfg_output_high>;	// RST
		};
	};


    usb2 {
		host_hub_enable: host-vbus-drv {
			rockchip,pins =
				<1 RK_PA2 RK_FUNC_GPIO &pcfg_pull_up>;
		};
	};


    fusb30x {
		fusb0_int: fusb0-int {
			rockchip,pins =
				<0 RK_PA4 RK_FUNC_GPIO &pcfg_pull_up>,
				<4 RK_PC5 RK_FUNC_GPIO &pcfg_pull_up>;
		};
	};

	gmac {
		rgmii_pins: rgmii-pins {
			rockchip,pins =
				/* mac_txclk */
				<3 17 RK_FUNC_1 &pcfg_pull_none_13ma>,
				/* reset */
				<3 15 RK_FUNC_1 &pcfg_output_high>,
				/* mac_rxclk */
				<3 14 RK_FUNC_1 &pcfg_pull_none>,
				/* mac_mdio */
				<3 13 RK_FUNC_1 &pcfg_pull_none>,
				/* mac_txen */
				<3 12 RK_FUNC_1 &pcfg_pull_none_13ma>,
				/* mac_rxdv */
				<3 9 RK_FUNC_1 &pcfg_pull_none>,
				/* mac_mdc */
				<3 8 RK_FUNC_1 &pcfg_pull_none>,
				/* mac_rxd1 */
				<3 7 RK_FUNC_1 &pcfg_pull_none>,
				/* mac_rxd0 */
				<3 6 RK_FUNC_1 &pcfg_pull_none>,
				/* mac_txd1 */
				<3 5 RK_FUNC_1 &pcfg_pull_none_13ma>,
				/* mac_txd0 */
				<3 4 RK_FUNC_1 &pcfg_pull_none_13ma>,
				/* mac_rxd3 */
				<3 3 RK_FUNC_1 &pcfg_pull_none>,
				/* mac_rxd2 */
				<3 2 RK_FUNC_1 &pcfg_pull_none>,
				/* mac_txd3 */
				<3 1 RK_FUNC_1 &pcfg_pull_none_13ma>,
				/* mac_txd2 */
				<3 0 RK_FUNC_1 &pcfg_pull_none_13ma>;
		};
	};


	sdio-pwrseq {
		wifi_enable_h: wifi-enable-h {
			rockchip,pins =
				<3 RK_PD1 RK_FUNC_GPIO &pcfg_pull_none>;
		};
	};


	audio_i2s {
		i2s0_2ch_bus: i2s0_2ch_bus {
				rockchip,pins =
					<3 RK_PD0 RK_FUNC_1 &pcfg_pull_none>,
					<3 RK_PD2 RK_FUNC_1 &pcfg_pull_none>,
					<3 RK_PD3 RK_FUNC_1 &pcfg_pull_none>,		
					<3 RK_PD7 RK_FUNC_1 &pcfg_pull_none>;
		};


		i2s0_2ch_mclk: i2s0_2ch_mclk {
				rockchip,pins =
					<4 RK_PA0 RK_FUNC_1 &pcfg_pull_none>;
		};


		codec_audio: codec-audio {
			rockchip,pins =
				<3 RK_PD6 RK_FUNC_GPIO &pcfg_pull_up>;
		};
	};


	lcd_panel {
		edp_vlcd_sw: edp-vlcd-sw {
			rockchip,pins = 
				<4 RK_PD5 RK_FUNC_GPIO &pcfg_pull_none>;
		};

		edp_vblk_sw: edp-vblk-sw {
			rockchip,pins = 
				<4 RK_PD6 RK_FUNC_GPIO &pcfg_pull_none>;
		};
	};


	lvds_panel {
		dsi_bridge_on: edp-bridge-on {
			rockchip,pins = 
				<3 RK_PD4 RK_FUNC_GPIO &pcfg_output_high>;
		};
	};


	gsm_modem {
		gsm_modem_pwr: gsm-modem-pwr {
			rockchip,pins = 
				<2 RK_PA2 RK_FUNC_GPIO &pcfg_pull_none>,   //pwe
				<1 RK_PC7 RK_FUNC_GPIO &pcfg_pull_none>,   //reset
				<2 RK_PA4 RK_FUNC_GPIO &pcfg_pull_none>;   //usben
		};
	};


	can1_control {
		can1_int: can1-int {
			rockchip,pins = 
				<1 RK_PA3 RK_FUNC_GPIO &pcfg_pull_none>;
		};
	};


	can2_control {
		can2_int: can2-int {
			rockchip,pins = 
				<1 RK_PA4 RK_FUNC_GPIO &pcfg_pull_none>;
		};
	};
};
/*  __________________________________________________________________________
 * |__________________________________________________________________________|
 */
